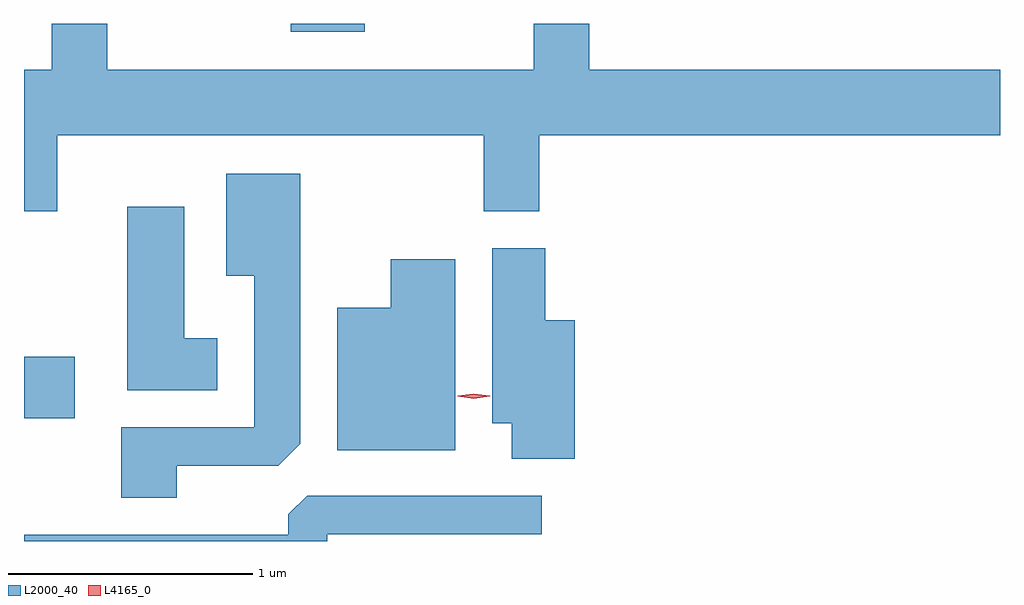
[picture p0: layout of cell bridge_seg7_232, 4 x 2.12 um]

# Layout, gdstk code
import gdstk
lib = gdstk.Library(unit=1e-6, precision=1e-09)
def R(c, l, rs):  # rectangles x0, y0, x1, y1
    for r in rs: c.add(gdstk.rectangle(r[:2], r[2:], *l))
def P(c, l, *ps):  # polygons
    for p in ps: c.add(gdstk.Polygon(p, *l))
L2000_40 = (2000, 40)
L4165_0 = (4165, 0)

bridge_seg7_232 = lib.new_cell('bridge_seg7_232')
R(bridge_seg7_232, L2000_40, [(1808.797,1668.756,1809.004,1669.009), (1809.891,1670.341,1810.194,1670.374)])
P(bridge_seg7_232, L2000_40, [(1808.934,1669.916),(1810.681,1669.916),(1810.681,1669.606),(1810.909,1669.606),(1810.909,1669.916),(1812.797,1669.916),(1812.797,1670.184),(1811.114,1670.184),(1811.114,1670.374),(1810.886,1670.374),(1810.886,1670.184),(1809.139,1670.184),(1809.139,1670.374),(1808.911,1670.374),(1808.911,1670.184),(1808.797,1670.184),(1808.797,1669.606),(1808.934,1669.606)],
  [(1809.424,1668.561),(1809.839,1668.561),(1809.929,1668.652),(1809.929,1669.759),(1809.626,1669.759),(1809.626,1669.341),(1809.741,1669.341),(1809.741,1668.719),(1809.196,1668.719),(1809.196,1668.431),(1809.424,1668.431)],
  [(1809.589,1669.084),(1809.454,1669.084),(1809.454,1669.624),(1809.221,1669.624),(1809.221,1668.871),(1809.589,1668.871)],
  [(1811.054,1669.159),(1810.934,1669.159),(1810.934,1669.454),(1810.716,1669.454),(1810.716,1668.736),(1810.796,1668.736),(1810.796,1668.591),(1811.054,1668.591)],
  [(1810.564,1669.409),(1810.301,1669.409),(1810.301,1669.209),(1810.081,1669.209),(1810.081,1668.626),(1810.564,1668.626)],
  [(1810.039,1668.281),(1810.918,1668.281),(1810.918,1668.439),(1809.957,1668.439),(1809.881,1668.364),(1809.881,1668.279),(1808.797,1668.279),(1808.797,1668.252),(1810.039,1668.252)])
P(bridge_seg7_232, L4165_0, [(1810.64,1668.837),(1810.574,1668.846),(1810.574,1668.847),(1810.574,1668.848),(1810.64,1668.857),(1810.706,1668.848),(1810.707,1668.847),(1810.706,1668.846)])

lib.write_gds('bridge_seg7_232.gds')
